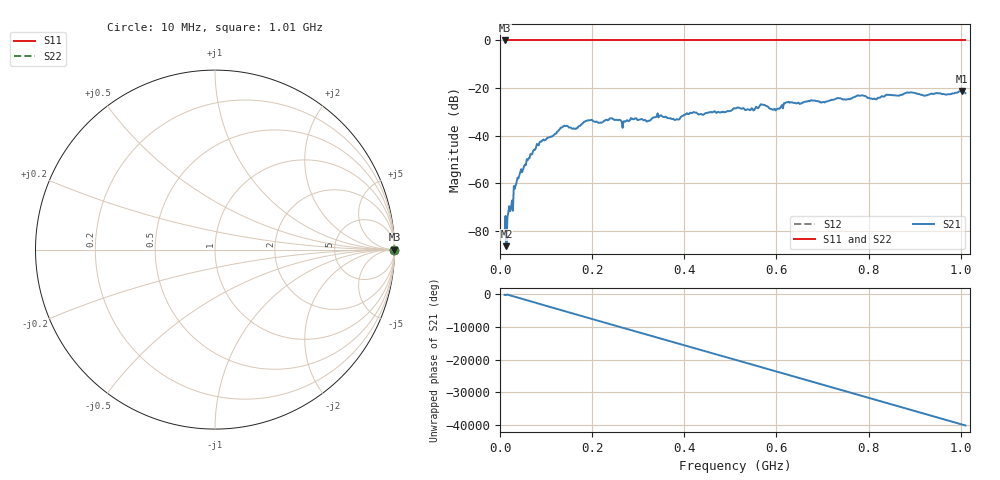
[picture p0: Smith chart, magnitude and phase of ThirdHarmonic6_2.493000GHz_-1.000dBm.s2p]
! 8/17/2025 4:43:58 AM
! C:\ANRITSUVNA\TEMP\TEMP.S2P
! CHANNEL.1
! TR.MEASUREMENT
! RAW.DATA
! RF.CORRECTION.OFF
! AVERAGING.OFF
! IF.BANDWIDTH: 5KHZ
! SWEEPTYPE:  FREQ.SWEEP(Linear)
! Reference Plane Port Info
! PORT:  PORT1  PORT2
! DISTANCE:  0  m  0  m
! TIME:  0  s  0  s
! PHASE.OFFSET:  0  deg.  0  deg.
! LOSS:  0  dB  0  dB
! REF.LOSS:  0  dB  0  dB
! REF.FREQ:  0  Hz  0  Hz
! Power Info
! POWER:  -20  dBm  -20  dBm
! EFF.POWER:  -20  dBm  -20  dBm
! SOURCE.ATTEN:  0  dB  0  dB
! TEST.ATTEN:  0  dB  0  dB
# GHZ S RI R 50.0
! FREQ.GHZ  S11RE  S11IM  S21RE  S21IM  S12RE  S12IM  S22RE  S22IM
!; PortSelection: Port_12
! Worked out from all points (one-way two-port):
!   501 points, 10 MHz to 1.01 GHz, reference 50 ohm
!   highest |S21| = -21.26 dB at 1.002 GHz (marker M1); lowest = -86.5 dB at 14 MHz (marker M2)
!   lowest |S11| = 0.0 dB at 10 MHz (marker M3)
!   |S11| at or under -10 dB: nowhere
!   |S22| runs from 0.0 to 0.0 dB; largest |S21 - S12| = 1.1
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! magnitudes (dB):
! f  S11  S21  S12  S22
! 10 MHz  0.0  -81.8  0.0  0.0
! 14 MHz  0.0  -86.5  0.0  0.0
! 24 MHz  0.0  -70.5  0.0  0.0
! 34 MHz  0.0  -60.9  0.0  0.0
! 42 MHz  0.0  -56.7  0.0  0.0
! 84 MHz  0.0  -44.1  0.0  0.0
! 136 MHz  0.0  -36.4  0.0  0.0
! 162 MHz  0.0  -37.1  0.0  0.0
! 178 MHz  0.0  -35.1  0.0  0.0
! 242 MHz  0.0  -32.7  0.0  0.0
! 322 MHz  0.0  -33.7  0.0  0.0
! 344 MHz  0.0  -32.3  0.0  0.0
! 384 MHz  0.0  -33.1  0.0  0.0
! 416 MHz  0.0  -30.5  0.0  0.0
! 510 MHz  0.0  -28.6  0.0  0.0
! 570 MHz  0.0  -27.0  0.0  0.0
! 596 MHz  0.0  -28.7  0.0  0.0
! 622 MHz  0.0  -26.0  0.0  0.0
! 678 MHz  0.0  -25.2  0.0  0.0
! 844 MHz  0.0  -22.9  0.0  0.0
! 1.002 GHz  0.0  -21.3  0.0  0.0
! 1.01 GHz  0.0  -22.2  0.0  0.0
